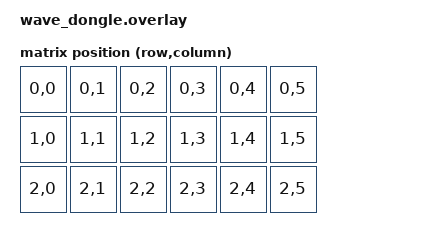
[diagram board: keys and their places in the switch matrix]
#include <dt-bindings/zmk/matrix_transform.h>

/ {
    chosen {
        zmk,kscan = &mock_kscan;
        zmk,physical-layout = &physical_layout0;
    };

    mock_kscan: mock_kscan_0 {
        compatible = "zmk,kscan-mock";
        columns = <0>;
        rows = <0>;
        events = <0>;
    };
};

/ {
    default_transform: keymap_transform0 {
        compatible = "zmk,matrix-transform";
        columns = <6>;
        rows = <3>;
        map = <
        //  LKey 1 |LKey 2 |LKey 3      RKey 1 |RKey 2 |RKey 3
            RC(0,0) RC(0,1) RC(0,2)     RC(0,3) RC(0,4) RC(0,5)
        //  LKey 4 |LKey 5 |LKey 6      RKey 4 |RKey 5 |RKey 6
            RC(1,0) RC(1,1) RC(1,2)     RC(1,3) RC(1,4) RC(1,5)
        //  LKey 7 |LKey 8 |LKey 9      RKey 7 |RKey 8 |RKey 9
            RC(2,0) RC(2,1) RC(2,2)     RC(2,3) RC(2,4) RC(2,5)
        >;
    };
};

/ {
    physical_layout0: physical_layout_0 {
        compatible = "zmk,physical-layout";
        display-name = "Default Layout";
        transform = <&default_transform>;
    };
};
